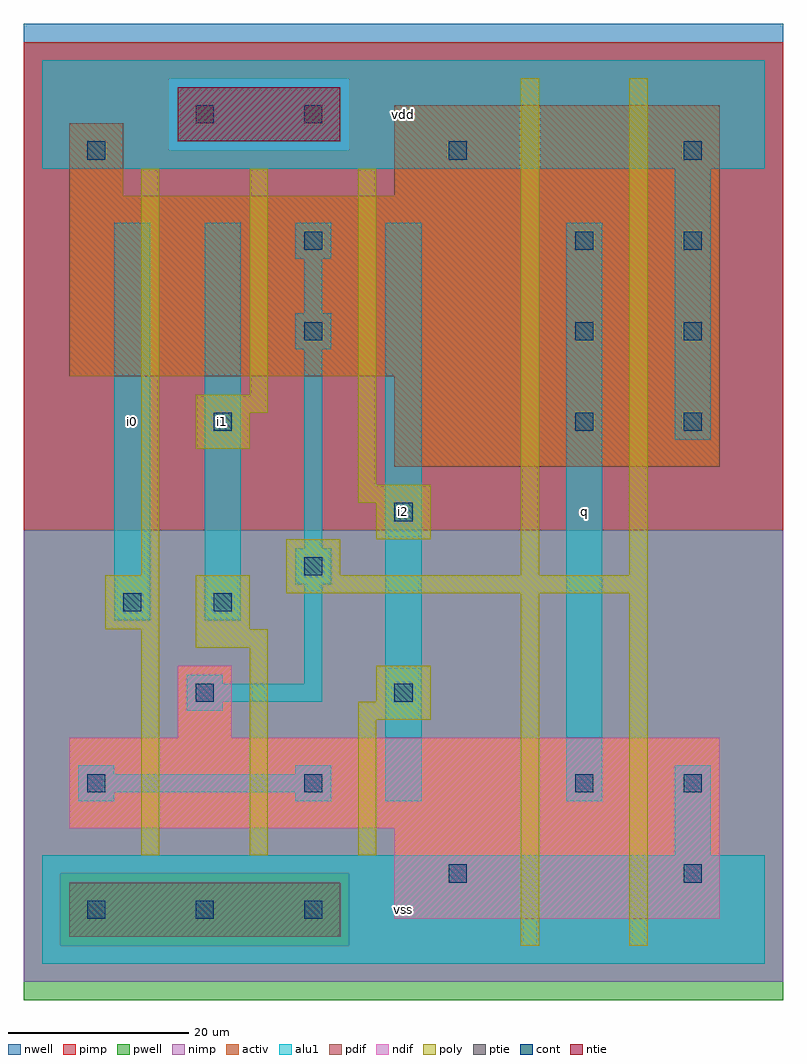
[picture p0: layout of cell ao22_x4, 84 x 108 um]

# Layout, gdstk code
import gdstk
lib = gdstk.Library(unit=1e-6, precision=1e-09)
def R(c, l, rs):  # rectangles x0, y0, x1, y1
    for r in rs: c.add(gdstk.rectangle(r[:2], r[2:], *l))
def A(c, l, x, y, w, h, nx, ny, dx, dy):  # array of equal rectangles
    R(c, l, [(x+i*dx, y+j*dy, x+i*dx+w, y+j*dy+h) for i in range(nx) for j in range(ny)])
ndif = (3, 0)
pdif = (4, 0)
ntie = (5, 0)
ptie = (6, 0)
cont = (25, 0)
pwell = (41, 0)
nwell = (42, 0)
activ = (43, 0)
pimp = (44, 0)
nimp = (45, 0)
poly = (46, 0)
alu1 = (49, 0)

ao22_x4 = lib.new_cell('ao22_x4')
R(ao22_x4, ndif, [(39,5,75,15), (3,15,75,25), (15,25,21,33)])
R(ao22_x4, pdif, [(39,55,75,65), (3,65,75,85), (3,85,9,93), (39,85,75,95)])
R(ao22_x4, ntie, [(15,91,33,97)])
R(ao22_x4, ptie, [(3,3,33,9)])
A(ao22_x4, cont, 5, 5, 2, 2, 3, 1, 12, 0)
A(ao22_x4, cont, 59, 59, 2, 2, 1, 3, 0, 10)
A(ao22_x4, cont, 71, 59, 2, 2, 1, 4, 0, 10)
R(ao22_x4, cont, [(45,9,47,11), (71,9,73,11), (5,19,7,21), (29,19,31,21), (59,19,61,21), (71,19,73,21), (17,29,19,31), (39,29,41,31), (9,39,11,41), (19,39,21,41), (29,43,31,45), (39,49,41,51), (19,59,21,61), (29,69,31,71), (29,79,31,81), (5,89,7,91), (45,89,47,91), (17,93,19,95), (29,93,31,95)])
R(ao22_x4, pwell, [(-2,-4,82,48)])
R(ao22_x4, nwell, [(-2,48,82,104)])
R(ao22_x4, activ, [(3,3,33,9), (39,5,75,15), (3,15,75,25), (15,25,21,33), (39,55,75,65), (3,65,75,85), (3,85,9,93), (39,85,75,95), (15,91,33,97)])
R(ao22_x4, pimp, [(2,2,34,10), (-2,48,82,90), (-2,90,14,98), (34,90,82,98), (-2,98,82,102)])
R(ao22_x4, nimp, [(-2,-2,82,2), (-2,2,2,10), (34,2,82,10), (-2,10,82,48), (14,90,34,98)])
R(ao22_x4, poly, [(53,2,55,41), (65,2,67,41), (11,12,13,37), (23,12,25,35), (35,12,37,27), (35,27,43,29), (37,29,43,33), (17,35,25,37), (7,37,13,43), (17,37,23,43), (27,41,67,43), (11,43,13,88), (27,43,33,47), (53,43,55,98), (65,43,67,98), (37,47,43,51), (35,51,43,53), (35,53,37,88), (17,57,23,61), (17,61,25,63), (23,63,25,88)])
R(ao22_x4, alu1, [(0,0,80,12), (70,12,74,22), (4,18,8,19), (28,18,32,19), (38,18,42,82), (58,18,62,82), (4,19,32,21), (4,21,8,22), (28,21,32,22), (16,28,20,29), (16,29,31,31), (16,31,20,32), (29,31,31,42), (8,38,12,82), (18,38,22,82), (28,42,32,46), (29,46,31,68), (70,58,74,88), (28,68,32,72), (29,72,31,78), (28,78,32,82), (0,88,80,100)])
ao22_x4.add(gdstk.Label('i0', (10,60), layer=49, texttype=0))
ao22_x4.add(gdstk.Label('i1', (20,60), layer=49, texttype=0))
ao22_x4.add(gdstk.Label('vss', (40,6), layer=49, texttype=0))
ao22_x4.add(gdstk.Label('i2', (40,50), layer=49, texttype=0))
ao22_x4.add(gdstk.Label('vdd', (40,94), layer=49, texttype=0))
ao22_x4.add(gdstk.Label('q', (60,50), layer=49, texttype=0))

lib.write_gds('ao22_x4.gds')
